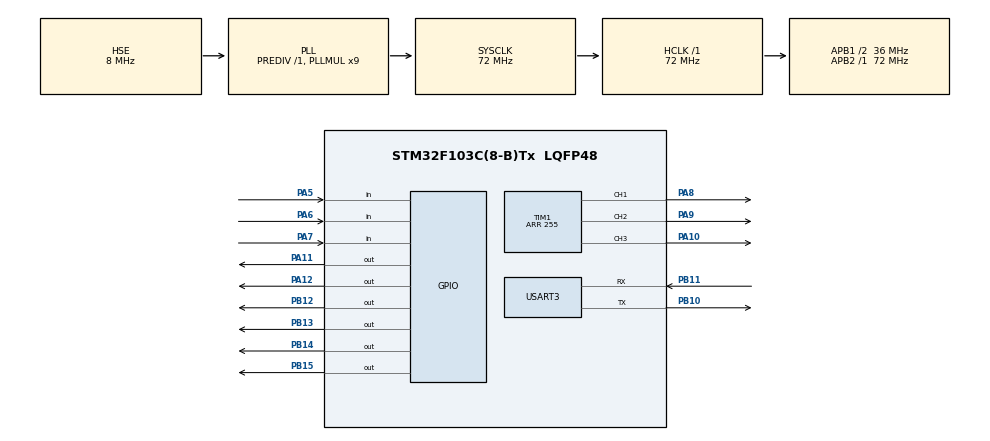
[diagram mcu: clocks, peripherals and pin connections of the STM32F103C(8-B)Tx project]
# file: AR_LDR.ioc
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Mcu.Family=STM32F1
Mcu.Name=STM32F103C(8-B)Tx
Mcu.Package=LQFP48
NVIC.PriorityGroup=NVIC_PRIORITYGROUP_4
PA10.Signal=S_TIM1_CH3
PA11.Signal=GPIO_Output
PA12.Signal=GPIO_Output
PA13.Mode=Serial_Wire
PA13.Signal=SYS_JTMS-SWDIO
PA14.Mode=Serial_Wire
PA14.Signal=SYS_JTCK-SWCLK
PA5.Signal=GPIO_Input
PA6.Signal=GPIO_Input
PA7.Signal=GPIO_Input
PA8.Signal=S_TIM1_CH1
PA9.Signal=S_TIM1_CH2
PB10.Mode=Asynchronous
PB10.Signal=USART3_TX
PB11.Mode=Asynchronous
PB11.Signal=USART3_RX
PB12.Signal=GPIO_Output
PB13.Signal=GPIO_Output
PB14.Signal=GPIO_Output
PB15.Signal=GPIO_Output
PD0-OSC_IN.Mode=HSE-External-Oscillator
PD0-OSC_IN.Signal=RCC_OSC_IN
PD1-OSC_OUT.Mode=HSE-External-Oscillator
PD1-OSC_OUT.Signal=RCC_OSC_OUT
ProjectManager.HeapSize=0x200
ProjectManager.StackSize=0x400
ProjectManager.TargetToolchain=STM32CubeIDE
RCC.AHBFreq_Value=72000000
RCC.APB1CLKDivider=RCC_HCLK_DIV2
RCC.APB1Freq_Value=36000000
RCC.APB1TimFreq_Value=72000000
RCC.APB2Freq_Value=72000000
RCC.APB2TimFreq_Value=72000000
RCC.HCLKFreq_Value=72000000
RCC.PLLMUL=RCC_PLL_MUL9
RCC.PLLSourceVirtual=RCC_PLLSOURCE_HSE
RCC.SYSCLKFreq_VALUE=72000000
RCC.SYSCLKSource=RCC_SYSCLKSOURCE_PLLCLK
RCC.USBFreq_Value=72000000
SH.S_TIM1_CH1.0=TIM1_CH1,PWM Generation1 CH1
SH.S_TIM1_CH2.0=TIM1_CH2,PWM Generation2 CH2
SH.S_TIM1_CH3.0=TIM1_CH3,PWM Generation3 CH3
TIM1.AutoReloadPreload=TIM_AUTORELOAD_PRELOAD_ENABLE
TIM1.Channel-PWM\ Generation1\ CH1=TIM_CHANNEL_1
TIM1.Channel-PWM\ Generation2\ CH2=TIM_CHANNEL_2
TIM1.Channel-PWM\ Generation3\ CH3=TIM_CHANNEL_3
TIM1.Period=255
USART3.VirtualMode=VM_ASYNC
VP_TIM1_VS_ClockSourceINT.Mode=Internal
board=custom

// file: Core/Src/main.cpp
/* USER CODE BEGIN Header */
/**
  ******************************************************************************
  * @file           : main.c
  * @brief          : Main program body
  ******************************************************************************
  * @attention
  *
  * Copyright (c) 2024 STMicroelectronics.
  * All rights reserved.
  *
  * This software is licensed under terms that can be found in the LICENSE file
  * in the root directory of this software component.
  * If no LICENSE file comes with this software, it is provided AS-IS.
  *
  ******************************************************************************
  */
/* USER CODE END Header */
#include "main.h"

/* USER CODE BEGIN Includes */
#include"Motor.h"
#include"Tribase.h"
/* USER CODE END Includes */

TIM_HandleTypeDef htim1;

UART_HandleTypeDef huart3;

void SystemClock_Config(void);
static void MX_GPIO_Init(void);
static void MX_TIM1_Init(void);
static void MX_USART3_UART_Init(void);

int main(void)
{

  /* MCU Configuration--------------------------------------------------------*/

  /* Reset of all peripherals, Initializes the Flash interface and the Systick. */
  HAL_Init();

  /* Configure the system clock */
  SystemClock_Config();

  /* Initialize all configured peripherals */
  MX_GPIO_Init();
  MX_TIM1_Init();
  MX_USART3_UART_Init();
  /* USER CODE BEGIN 2 */
  MOTOR motor_1(GPIOB,GPIO_PIN_15,GPIOB, GPIO_PIN_14);
      motor_1.motor_init(&htim1, TIM_CHANNEL_3);
  MOTOR motor_2(GPIOB,GPIO_PIN_12,GPIOB, GPIO_PIN_13);
      motor_2.motor_init(&htim1, TIM_CHANNEL_2);
  MOTOR motor_3(GPIOA,GPIO_PIN_11,GPIOA,GPIO_PIN_12);
      motor_3.motor_init(&htim1,TIM_CHANNEL_1);
      tribase_kinematics obj(&motor_1, &motor_2, &motor_3);
  /* USER CODE END 2 */

  /* Infinite loop */
  /* USER CODE BEGIN WHILE */
  while (1)
  {

	  //forward
	  if(HAL_GPIO_ReadPin(GPIOA, GPIO_PIN_6)==0 && HAL_GPIO_ReadPin(GPIOA,GPIO_PIN_7)==1 && HAL_GPIO_ReadPin(GPIOA, GPIO_PIN_5)==0){
	 		 obj.forward(127,255);
	 	   }
	  //anticlockwise
      else if(HAL_GPIO_ReadPin(GPIOA, GPIO_PIN_6)==1 && HAL_GPIO_ReadPin(GPIOA,GPIO_PIN_7)==0 && HAL_GPIO_ReadPin(GPIOA, GPIO_PIN_5)==0){
	 	  	 obj.clockwise(127,127,127);
	 	   }
	  //clockwise
	  else if(HAL_GPIO_ReadPin(GPIOA, GPIO_PIN_6)==0 && HAL_GPIO_ReadPin(GPIOA,GPIO_PIN_7)==0 && HAL_GPIO_ReadPin(GPIOA, GPIO_PIN_5)==1){
	  	 	  	obj.anti_clockwise(127,127,127);
	  	   }
	  //brake
	  else {
		  obj.brake();
	  	   }
 }	 			}
    /* USER CODE END WHILE */

void SystemClock_Config(void)
{
  RCC_OscInitTypeDef RCC_OscInitStruct = {0};
  RCC_ClkInitTypeDef RCC_ClkInitStruct = {0};

  /** Initializes the RCC Oscillators according to the specified parameters
  * in the RCC_OscInitTypeDef structure.
  */
  RCC_OscInitStruct.OscillatorType = RCC_OSCILLATORTYPE_HSE;
  RCC_OscInitStruct.HSEState = RCC_HSE_ON;
  RCC_OscInitStruct.HSEPredivValue = RCC_HSE_PREDIV_DIV1;
  RCC_OscInitStruct.HSIState = RCC_HSI_ON;
  RCC_OscInitStruct.PLL.PLLState = RCC_PLL_ON;
  RCC_OscInitStruct.PLL.PLLSource = RCC_PLLSOURCE_HSE;
  RCC_OscInitStruct.PLL.PLLMUL = RCC_PLL_MUL9;
  if (HAL_RCC_OscConfig(&RCC_OscInitStruct) != HAL_OK)
  {
    Error_Handler();
  }

  /** Initializes the CPU, AHB and APB buses clocks
  */
  RCC_ClkInitStruct.ClockType = RCC_CLOCKTYPE_HCLK|RCC_CLOCKTYPE_SYSCLK
                              |RCC_CLOCKTYPE_PCLK1|RCC_CLOCKTYPE_PCLK2;
  RCC_ClkInitStruct.SYSCLKSource = RCC_SYSCLKSOURCE_PLLCLK;
  RCC_ClkInitStruct.AHBCLKDivider = RCC_SYSCLK_DIV1;
  RCC_ClkInitStruct.APB1CLKDivider = RCC_HCLK_DIV2;
  RCC_ClkInitStruct.APB2CLKDivider = RCC_HCLK_DIV1;

  if (HAL_RCC_ClockConfig(&RCC_ClkInitStruct, FLASH_LATENCY_2) != HAL_OK)
  {
    Error_Handler();
  }
}

static void MX_TIM1_Init(void)
{

  TIM_ClockConfigTypeDef sClockSourceConfig = {0};
  TIM_MasterConfigTypeDef sMasterConfig = {0};
  TIM_OC_InitTypeDef sConfigOC = {0};
  TIM_BreakDeadTimeConfigTypeDef sBreakDeadTimeConfig = {0};

  htim1.Instance = TIM1;
  htim1.Init.Prescaler = 0;
  htim1.Init.CounterMode = TIM_COUNTERMODE_UP;
  htim1.Init.Period = 255;
  htim1.Init.ClockDivision = TIM_CLOCKDIVISION_DIV1;
  htim1.Init.RepetitionCounter = 0;
  htim1.Init.AutoReloadPreload = TIM_AUTORELOAD_PRELOAD_ENABLE;
  if (HAL_TIM_Base_Init(&htim1) != HAL_OK)
  {
    Error_Handler();
  }
  sClockSourceConfig.ClockSource = TIM_CLOCKSOURCE_INTERNAL;
  if (HAL_TIM_ConfigClockSource(&htim1, &sClockSourceConfig) != HAL_OK)
  {
    Error_Handler();
  }
  if (HAL_TIM_PWM_Init(&htim1) != HAL_OK)
  {
    Error_Handler();
  }
  sMasterConfig.MasterOutputTrigger = TIM_TRGO_RESET;
  sMasterConfig.MasterSlaveMode = TIM_MASTERSLAVEMODE_DISABLE;
  if (HAL_TIMEx_MasterConfigSynchronization(&htim1, &sMasterConfig) != HAL_OK)
  {
    Error_Handler();
  }
  sConfigOC.OCMode = TIM_OCMODE_PWM1;
  sConfigOC.Pulse = 0;
  sConfigOC.OCPolarity = TIM_OCPOLARITY_HIGH;
  sConfigOC.OCNPolarity = TIM_OCNPOLARITY_HIGH;
  sConfigOC.OCFastMode = TIM_OCFAST_DISABLE;
  sConfigOC.OCIdleState = TIM_OCIDLESTATE_RESET;
  sConfigOC.OCNIdleState = TIM_OCNIDLESTATE_RESET;
  if (HAL_TIM_PWM_ConfigChannel(&htim1, &sConfigOC, TIM_CHANNEL_1) != HAL_OK)
  {
    Error_Handler();
  }
  if (HAL_TIM_PWM_ConfigChannel(&htim1, &sConfigOC, TIM_CHANNEL_2) != HAL_OK)
  {
    Error_Handler();
  }
  if (HAL_TIM_PWM_ConfigChannel(&htim1, &sConfigOC, TIM_CHANNEL_3) != HAL_OK)
  {
    Error_Handler();
  }
  sBreakDeadTimeConfig.OffStateRunMode = TIM_OSSR_DISABLE;
  sBreakDeadTimeConfig.OffStateIDLEMode = TIM_OSSI_DISABLE;
  sBreakDeadTimeConfig.LockLevel = TIM_LOCKLEVEL_OFF;
  sBreakDeadTimeConfig.DeadTime = 0;
  sBreakDeadTimeConfig.BreakState = TIM_BREAK_DISABLE;
  sBreakDeadTimeConfig.BreakPolarity = TIM_BREAKPOLARITY_HIGH;
  sBreakDeadTimeConfig.AutomaticOutput = TIM_AUTOMATICOUTPUT_DISABLE;
  if (HAL_TIMEx_ConfigBreakDeadTime(&htim1, &sBreakDeadTimeConfig) != HAL_OK)
  {
    Error_Handler();
  }
  HAL_TIM_MspPostInit(&htim1);

}

static void MX_USART3_UART_Init(void)
{

  huart3.Instance = USART3;
  huart3.Init.BaudRate = 115200;
  huart3.Init.WordLength = UART_WORDLENGTH_8B;
  huart3.Init.StopBits = UART_STOPBITS_1;
  huart3.Init.Parity = UART_PARITY_NONE;
  huart3.Init.Mode = UART_MODE_TX_RX;
  huart3.Init.HwFlowCtl = UART_HWCONTROL_NONE;
  huart3.Init.OverSampling = UART_OVERSAMPLING_16;
  if (HAL_UART_Init(&huart3) != HAL_OK)
  {
    Error_Handler();
  }

}

static void MX_GPIO_Init(void)
{
  GPIO_InitTypeDef GPIO_InitStruct = {0};

  /* GPIO Ports Clock Enable */
  __HAL_RCC_GPIOD_CLK_ENABLE();
  __HAL_RCC_GPIOA_CLK_ENABLE();
  __HAL_RCC_GPIOB_CLK_ENABLE();

  /*Configure GPIO pin Output Level */
  HAL_GPIO_WritePin(GPIOB, GPIO_PIN_12|GPIO_PIN_13|GPIO_PIN_14|GPIO_PIN_15, GPIO_PIN_RESET);

  /*Configure GPIO pin Output Level */
  HAL_GPIO_WritePin(GPIOA, GPIO_PIN_11|GPIO_PIN_12, GPIO_PIN_RESET);

  /*Configure GPIO pins : PA5 PA6 PA7 */
  GPIO_InitStruct.Pin = GPIO_PIN_5|GPIO_PIN_6|GPIO_PIN_7;
  GPIO_InitStruct.Mode = GPIO_MODE_INPUT;
  GPIO_InitStruct.Pull = GPIO_NOPULL;
  HAL_GPIO_Init(GPIOA, &GPIO_InitStruct);

  /*Configure GPIO pins : PB12 PB13 PB14 PB15 */
  GPIO_InitStruct.Pin = GPIO_PIN_12|GPIO_PIN_13|GPIO_PIN_14|GPIO_PIN_15;
  GPIO_InitStruct.Mode = GPIO_MODE_OUTPUT_PP;
  GPIO_InitStruct.Pull = GPIO_NOPULL;
  GPIO_InitStruct.Speed = GPIO_SPEED_FREQ_LOW;
  HAL_GPIO_Init(GPIOB, &GPIO_InitStruct);

  /*Configure GPIO pins : PA11 PA12 */
  GPIO_InitStruct.Pin = GPIO_PIN_11|GPIO_PIN_12;
  GPIO_InitStruct.Mode = GPIO_MODE_OUTPUT_PP;
  GPIO_InitStruct.Pull = GPIO_NOPULL;
  GPIO_InitStruct.Speed = GPIO_SPEED_FREQ_LOW;
  HAL_GPIO_Init(GPIOA, &GPIO_InitStruct);

}

void Error_Handler(void)
{
  __disable_irq();
  while (1)
  {
  }
}
